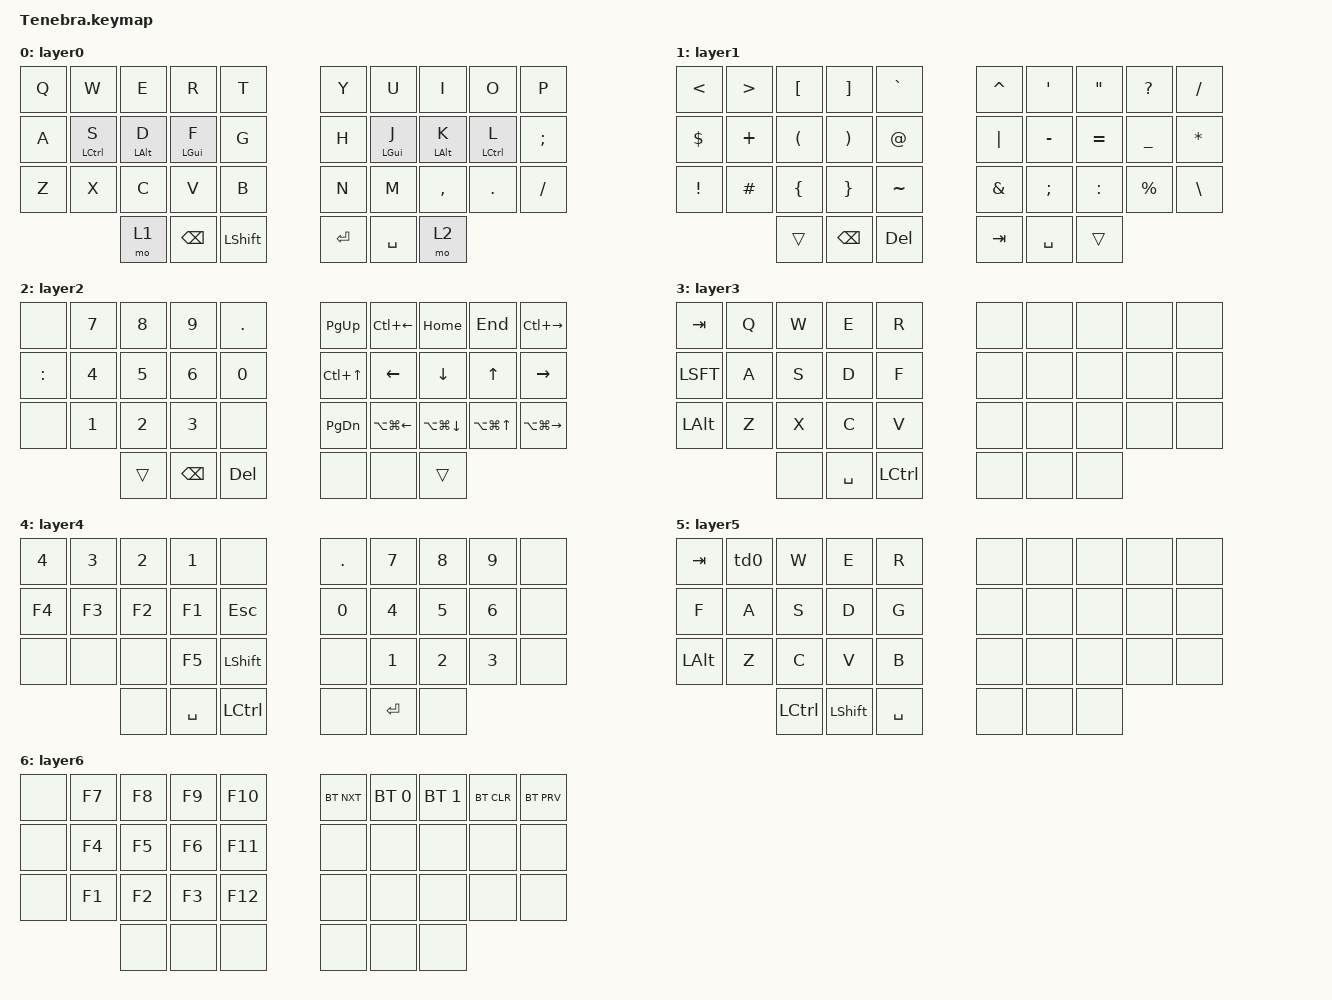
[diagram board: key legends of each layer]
/*
 * Copyright (c) 2020 The ZMK Contributors
 *
 * SPDX-License-Identifier: MIT
 */

#include <behaviors.dtsi>
#include <dt-bindings/zmk/keys.h>
#include <dt-bindings/zmk/bt.h>

/ {
    behaviors {
        hm: homerow_mods {
            compatible = "zmk,behavior-hold-tap";
            label = "HOMEROW_MODS";
            #binding-cells = <2>;
            tapping-term-ms = <250>;
            quick-tap-ms = <0>;
            flavor = "tap-preferred";
            bindings =
                <&kp>,
                <&kp>;
        };

        td0: tap_dance_0 {
            compatible = "zmk,behavior-tap-dance";
            #binding-cells = <0>;
            tapping-term-ms = <200>;
            bindings = <&kp Q>, <&kp X>;
        };
    };


//Turns out numbers are real, who knew?? This is the proper bindings for the keys. Does NOT inherit the numbering from .dtsi
//╭───────────────┬───────────────┬───────────────┬───────────────┬───────────────╮   ╭───────────────┬───────────────┬───────────────┬───────────────┬───────────────╮
//│       0       │       1       │       2       │       3       │       4       │   │       5       │       6       │       7       │       8       │       9       │
//├───────────────┼───────────────┼───────────────┼───────────────┼───────────────┤   ├───────────────┼───────────────┼───────────────┼───────────────┼───────────────┤
//│      10       │      11       │      12       │      13       │      14       │   │      15       │      16       │      17       │      18       │      19       │
//├───────────────┼───────────────┼───────────────┼───────────────┼───────────────┤   ├───────────────┼───────────────┼───────────────┼───────────────┼───────────────┤
//│      20       │      21       │      22       │      23       │      24       │   │      25       │      26       │      27       │      28       │      29       │
//╰───────────────┴───────────────┼───────────────┼───────────────┼───────────────┤   ├───────────────┼───────────────┼───────────────┼───────────────┴───────────────╯
//                                │      30       │      31       │      32       │   |      33       │      34       │      35       │
//                                ╰───────────────┴───────────────┴───────────────╯   ╰───────────────┴───────────────┴───────────────╯
        combos {
        compatible = "zmk,combos";
        always_home_combo {
            key-positions = <0 9 20 29>;
            bindings = <&to 0>;
        };
        esc_combo {
            key-positions = <13 14>;
            layers = <0>;
            bindings = <&kp ESC>;
        };
        colon_combo {
            key-positions = <15 16>;
            layers = <0>;
            bindings = <&kp COLON>;
        };
        tab_combo {
            key-positions = <33 34>;
            layers = <0>;
            bindings = <&kp TAB>;
        };
        del_combo {
            key-positions = <31 32>;
            layers = <0>;
            bindings = <&kp DEL>;
        };
        gaming_layer_toggle_combo {
            key-positions = <1 2 3>;
            bindings = <&tog 3>;
        };
        osrs_layer_toggle_combo {
            key-positions = <11 12 13>;
            bindings = <&tog 4>;
        };
        helldivers_layer_toggle {
            key-positions = <21 22 23>;
            bindings = <&tog 5>;
        };
        hd_primary {
            key-positions = <3 32>;
            layers = <5>;
            bindings = <&kp N1>;
        };
        hd_secondary {
            key-positions = <1 32>;
            layers = <5>;
            bindings = <&kp N2>;
        };
        hd_support {
            key-positions = <0 32>;
            layers = <5>;
            bindings = <&kp N3>;
        };
        hd_backpack {
            key-positions = <4 32>;
            layers = <5>;
            bindings = <&kp N5>;
        };
        hd_drop {
            key-positions = <2 32>;
            layers = <5>;
            bindings = <&kp N4>;
        };
        fn_bt_combo {
            key-positions = <7 8 9>;
            bindings = <&tog 6>;
        };
        sqt_combo {
            key-positions = <5 6>;
            layers = <0>;
            bindings = <&kp SQT>;
        };
    };

    keymap {
        compatible = "zmk,keymap";

        layer0 {
//            display-name = "Base";
            bindings = <
	//╭───────────────┬───────────────┬───────────────┬───────────────┬───────────────╮   ╭───────────────┬───────────────┬───────────────┬───────────────┬───────────────╮
        //│       Q       │       W       │       E       │       R       │       T       │   │       Y       │       U       │       I       │       O       │       P       │
                &kp Q           &kp W           &kp E           &kp R           &kp T               &kp Y           &kp U           &kp I           &kp O           &kp P
        //├───────────────┼───────────────┼───────────────┼───────────────┼───────────────┤   ├───────────────┼───────────────┼───────────────┼───────────────┼───────────────┤
        //│       A       │    S/CTRL     │    D/ALT      │    F/GUI      │       G       │   │       H       │    J/GUI      │    K/ALT      │    L/CTRL     │       ;       │
                &kp A        &hm LCTRL S     &hm LALT D      &hm LGUI F         &kp G               &kp H        &hm LGUI J      &hm LALT K      &hm LCTRL L      &kp SEMI
        //├───────────────┼───────────────┼───────────────┼───────────────┼───────────────┤   ├───────────────┼───────────────┼───────────────┼───────────────┼───────────────┤
        //│       Z       │       X       │       C       │       V       │       B       │   │       N       │       M       │       ,       │       .       │       /       │
                &kp Z           &kp X           &kp C           &kp V           &kp B               &kp N           &kp M         &kp COMMA        &kp DOT        &kp SLASH
        //╰───────────────┴───────────────┼───────────────┼───────────────┼───────────────┤   ├───────────────┼───────────────┼───────────────┼───────────────┴───────────────╯
                                                &mo 1       &kp BACKSPACE  &kp LEFT_SHIFT         &kp ENTER       &kp SPACE        &mo    2
        //                                ╰───────────────┴───────────────┴───────────────╯   ╰───────────────┴───────────────┴───────────────╯
            >;
        };

        layer1 {
//	    display-name = "Symbols";
            bindings = <
	//╭───────────────┬───────────────┬───────────────┬───────────────┬───────────────╮   ╭───────────────┬───────────────┬───────────────┬───────────────┬───────────────╮
        //│       <       │       >       │       [       │       ]       │       `       │   │       ^       │       '       │       "       │       ?       │       /       │
	       &kp LT          &kp GT    &kp LBKT            &kp RBKT        &kp GRAVE           &kp CARET        &kp SQT         &kp DQT        &kp QMARK       &kp FSLH
        //├───────────────┼───────────────┼───────────────┼───────────────┼───────────────┤   ├───────────────┼───────────────┼───────────────┼───────────────┼───────────────┤
        //│       $       │       +       │       (       │       )       │       @       │   │      PIPE     │       -       │       =       │       _       │       *       │
                &kp DOLLAR     &kp PLUS       &kp LPAR        &kp RPAR       &kp AT_SIGN           &kp PIPE       &kp MINUS       &kp EQUAL       &kp UNDER     &kp ASTERISK
        //├───────────────┼───────────────┼───────────────┼───────────────┼───────────────┤   ├───────────────┼───────────────┼───────────────┼───────────────┼───────────────┤
        //│       !       │       #       │       {       │       }       │       ~       │   │       &       │       ;       │       :       │       %       │       \       │
              &kp EXCL        &kp HASH        &kp LBRC        &kp RBRC        &kp TILDE         &kp AMPERSAND   &kp SEMICOLON     &kp COLON       &kp PERCENT     &kp BSLH
        //╰───────────────┴───────────────┼───────────────┼───────────────┼───────────────┤   ├───────────────┼───────────────┼───────────────┼───────────────┴───────────────╯
                                               &trans       &kp BACKSPACE     &kp DELETE            &kp TAB        &kp SPACE        &trans
        //                                ╰───────────────┴───────────────┴───────────────╯   ╰───────────────┴───────────────┴───────────────╯
            >;
        };


        layer2 {
 //           display-name = "Numpad+Nav";
            bindings = <
        //╭───────────────┬───────────────┬───────────────┬───────────────┬───────────────╮   ╭───────────────┬───────────────┬───────────────┬───────────────┬───────────────╮
        //│               │       7       │       8       │       9       │       .       │   │     PGUP      │   CTRL+LEFT   │     HOME      │      END      │   CTRL+RIGHT  │
                &none          &kp N7          &kp N8          &kp N9          &kp DOT            &kp PG_UP      &kp LC(LEFT)     &kp HOME         &kp END      &kp LC(RIGHT)
        //├───────────────┼───────────────┼───────────────┼───────────────┼───────────────┤   ├───────────────┼───────────────┼───────────────┼───────────────┼───────────────┤
        //│       :       │       4       │       5       │       6       │       0       │   │    CTRL+UP    │      LEFT     │     DOWN      │      UP       │     RIGHT     │
              &kp COLON        &kp N4          &kp N5          &kp N6          &kp N0             &kp LC(UP)       &kp LEFT       &kp DOWN         &kp UP         &kp RIGHT
        //├───────────────┼───────────────┼───────────────┼───────────────┼───────────────┤   ├───────────────┼───────────────┼───────────────┼───────────────┼───────────────┤
        //│               │       1       │       2       │       3       │               │   │      PGDN     │    A+G+LEFT   │    A+G+DOWN   │     A+G+UP    │    A+G+RIGHT  │
               &none          &kp N1           &kp N2          &kp N3           &none             &kp PG_DN   &kp LA(LG(LEFT)) &kp LA(LG(DOWN)) &kp LA(LG(UP)) &kp LA(LG(RIGHT))
        //╰───────────────┴───────────────┼───────────────┼───────────────┼───────────────┤   ├───────────────┼───────────────┼───────────────┼───────────────┴───────────────╯
                                               &trans       &kp BACKSPACE    &kp DELETE            &none            &none           &trans
        //                                ╰───────────────┴───────────────┴───────────────╯   ╰───────────────┴───────────────┴───────────────╯
            >;
        };


        layer3 {
//	    display-name = "Gaming";
            bindings = <
        //╭───────────────┬───────────────┬───────────────┬───────────────┬───────────────╮   ╭───────────────┬───────────────┬───────────────┬───────────────┬───────────────╮
	//│      TAB      │       Q       │       W       │       E       │       R       │   │               │               │               │               │               │
               &kp TAB          &kp Q           &kp W           &kp E           &kp R               &none           &none           &none           &none           &none
        //├───────────────┼───────────────┼───────────────┼───────────────┼───────────────┤   ├───────────────┼───────────────┼───────────────┼───────────────┼───────────────┤
        //│     SHIFT     │       A       │       S       │       D       │       F       │   │               │               │               │               │               │
               &kp LSFT         &kp A           &kp S           &kp D           &kp F               &none           &none           &none           &none           &none
        //├───────────────┼───────────────┼───────────────┼───────────────┼───────────────┤   ├───────────────┼───────────────┼───────────────┼───────────────┼───────────────┤
        //│      LALT     │       Z       │       X       │       C       │       V       │   │               │               │               │               │               │
               &kp LALT         &kp Z           &kp X           &kp C           &kp V               &none           &none           &none           &none           &none
        //╰───────────────┴───────────────┼───────────────┼───────────────┼───────────────┤   ├───────────────┼───────────────┼───────────────┼───────────────┴───────────────╯
                                                &none         &kp SPACE       &kp LCTRL             &none           &none           &none
        //                                ╰───────────────┴───────────────┴───────────────╯   ╰───────────────┴───────────────┴───────────────╯
            >;
        };



        layer4 {
//	    display-name = "OSRS";
            bindings = <
        //╭───────────────┬───────────────┬───────────────┬───────────────┬───────────────╮   ╭───────────────┬───────────────┬───────────────┬───────────────┬───────────────╮
	//|       4       |       3       |       2       |       1       |               |   |       .       |       7       |       8       |       9       |               |
                &kp N4          &kp N3          &kp N2          &kp N1          &none              &kp DOT          &kp N7          &kp N8          &kp N9          &none
        //├───────────────┼───────────────┼───────────────┼───────────────┼───────────────┤   ├───────────────┼───────────────┼───────────────┼───────────────┼───────────────┤
        //|      F4       |      F3       |      F2       |      F1       |      ESC      |   |       0       |       4       |       5       |       6       |               |
               &kp F4          &kp F3          &kp F2          &kp F1          &kp ESC              &kp N0          &kp N4          &kp N5          &kp N6          &none
        //├───────────────┼───────────────┼───────────────┼───────────────┼───────────────┤   ├───────────────┼───────────────┼───────────────┼───────────────┼───────────────┤
        //|               |               |               |      F5       |     SHIFT     |   |               |       1       |       2       |       3       |               |
                &none           &none           &none          &kp F5         &kp LSHIFT            &none           &kp N1          &kp N2          &kp N3          &none
        //╰───────────────┴───────────────┼───────────────┼───────────────┼───────────────┤   ├───────────────┼───────────────┼───────────────┼───────────────┴───────────────╯
                                                &none         &kp SPACE       &kp LCTRL             &none         &kp ENTER         &none
        //                                ╰───────────────┴───────────────┴───────────────╯   ╰───────────────┴───────────────┴───────────────╯
            >;
        };

        layer5 {
//	    display-name = "Helldivers";
            bindings = <
        //╭───────────────┬───────────────┬───────────────┬───────────────┬───────────────╮   ╭───────────────┬───────────────┬───────────────┬───────────────┬───────────────╮
        //│      MAP      │   PING/DROP   │      UP       │    INTERACT   │    RELOAD     │   │               │               │               │               │               │
               &kp TAB          &td0           &kp W           &kp E           &kp R               &none           &none           &none           &none           &none
        //├───────────────┼───────────────┼───────────────┼───────────────┼───────────────┤   ├───────────────┼───────────────┼───────────────┼───────────────┼───────────────┤
        //│     MELEE     │     LEFT      │     DOWN      │     RIGHT     │    GRENADE    │   │               │               │               │               │               │
                &kp F          &kp A           &kp S            &kp D           &kp G               &none           &none           &none           &none           &none
        //├───────────────┼───────────────┼───────────────┼───────────────┼───────────────┤   ├───────────────┼───────────────┼───────────────┼───────────────┼───────────────┤
        //│      DIVE     │     PRONE     │    CROUCH     │     STIM      │     EMOTE     │   │               │               │               │               │               │
               &kp LALT         &kp Z           &kp C           &kp V           &kp B               &none           &none           &none           &none           &none
        //╰───────────────┴───────────────┼───────────────┼───────────────┼───────────────┤   ├───────────────┼───────────────┼───────────────┼───────────────┴───────────────╯
                                              &kp LCTRL       &kp LSHIFT      &kp SPACE             &none           &none           &none
        //                                ╰───────────────┴───────────────┴───────────────╯   ╰───────────────┴───────────────┴───────────────╯
            >;
        };

        layer6 {
//	    display-name = "FN+BT";
            bindings = <
        //WIP BLUETOOTH STUFF
        // Needs an entrypoint, needs acutally defined bluetooth settings
        //╭───────────────┬───────────────┬───────────────┬───────────────┬───────────────╮   ╭───────────────┬───────────────┬───────────────┬───────────────┬───────────────╮
        //│               │      F7       │      F8       │      F9       │      F10      │   │     PGUP      │   CTRL+LEFT   │     HOME      │      END      │   CTRL+RIGHT  │
                &none          &kp F7          &kp F8          &kp F9          &kp F10             &bt BT_NXT  &bt BT_SEL 0        &bt BT_SEL 1   &bt BT_CLR   &bt BT_PRV 
        //├───────────────┼───────────────┼───────────────┼───────────────┼───────────────┤   ├───────────────┼───────────────┼───────────────┼───────────────┼───────────────┤
        //│               │      F4       │      F5       │      F6       │      F11      │   │    CTRL+UP    │      LEFT     │     DOWN      │      UP       │     RIGHT     │
                &none          &kp F4          &kp F5          &kp F6          &kp F11         &none            &none              &none            &none      &none
        //├───────────────┼───────────────┼───────────────┼───────────────┼───────────────┤   ├───────────────┼───────────────┼───────────────┼───────────────┼───────────────┤
        //│               │      F1       │      F2       │      F3       │      F12      │   │      PGDN     │    A+G+LEFT   │    A+G+DOWN   │     A+G+UP    │    A+G+RIGHT  │
                &none         &kp F1           &kp F2          &kp F3          &kp F12          &none            &none              &none            &none      &none
        //╰───────────────┴───────────────┼───────────────┼───────────────┼───────────────┤   ├───────────────┼───────────────┼───────────────┼───────────────┴───────────────╯
                                                &none          &none            &none              &none            &none           &none
        //                                ╰───────────────┴───────────────┴───────────────╯   ╰───────────────┴───────────────┴───────────────╯
            >;
        };
    };
};
